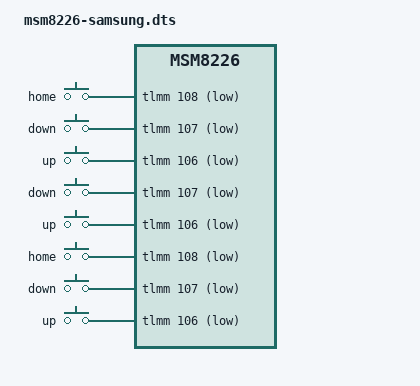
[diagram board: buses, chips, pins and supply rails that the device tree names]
// SPDX-License-Identifier: BSD-3-Clause

#include <skeleton64.dtsi>
#include <lk2nd.dtsi>

/ {
	qcom,msm-id = <0x9E08FF01 1 0x20000>,
		      <0x9E08FF01 7 0x20000>,
		      <QCOM_ID_MSM8226 QCOM_BOARD_ID_MTP 0x20007>;
};

&lk2nd {

	/* rev 1 */

	matisse3g {
		model = "Samsung Galaxy Tab 4 10.1 3G (SM-T532)";
		compatible = "samsung,matisse-wifi", "samsung,matisse";
		lk2nd,match-bootloader = "T532*";

		lk2nd,dtb-files = "apq8026-samsung-matisse-wifi";

		gpio-keys {
			compatible = "gpio-keys";
			home {
				lk2nd,code = <KEY_HOME>;
				gpios = <&tlmm 108 (GPIO_ACTIVE_LOW | GPIO_PULL_UP)>;
			};
			down {
				lk2nd,code = <KEY_VOLUMEDOWN>;
				gpios = <&tlmm 107 (GPIO_ACTIVE_LOW | GPIO_PULL_UP)>;
			};
			up {
				lk2nd,code = <KEY_VOLUMEUP>;
				gpios = <&tlmm 106 (GPIO_ACTIVE_LOW | GPIO_PULL_UP)>;
			};
		};
	};

	/* rev 7 */

	ms013g {
		model = "Samsung Galaxy Grand 2";
		compatible = "samsung,ms013g";
		lk2nd,match-bootloader = "G7102*";

		lk2nd,dtb-files = "msm8226-samsung-ms013g";

		gpio-keys {
			compatible = "gpio-keys";
			down {
				lk2nd,code = <KEY_VOLUMEDOWN>;
				gpios = <&tlmm 107 (GPIO_ACTIVE_LOW | GPIO_PULL_UP)>;
			};
			up {
				lk2nd,code = <KEY_VOLUMEUP>;
				gpios = <&tlmm 106 (GPIO_ACTIVE_LOW | GPIO_PULL_UP)>;
			};
		};
	};

	millet3g {
		model = "Samsung Galaxy Tab 4 8.0 3G (SM-T331)";
		compatible = "samsung,millet3g", "samsung,millet";
		lk2nd,match-bootloader = "T331*";

		lk2nd,dtb-files = "msm8226-samsung-millet3g", "msm8226-samsung-milletwifi";

		gpio-keys {
			compatible = "gpio-keys";
			home {
				lk2nd,code = <KEY_HOME>;
				gpios = <&tlmm 108 (GPIO_ACTIVE_LOW | GPIO_PULL_UP)>;
			};
			down {
				lk2nd,code = <KEY_VOLUMEDOWN>;
				gpios = <&tlmm 107 (GPIO_ACTIVE_LOW | GPIO_PULL_UP)>;
			};
			up {
				lk2nd,code = <KEY_VOLUMEUP>;
				gpios = <&tlmm 106 (GPIO_ACTIVE_LOW | GPIO_PULL_UP)>;
			};
		};
	};
};
